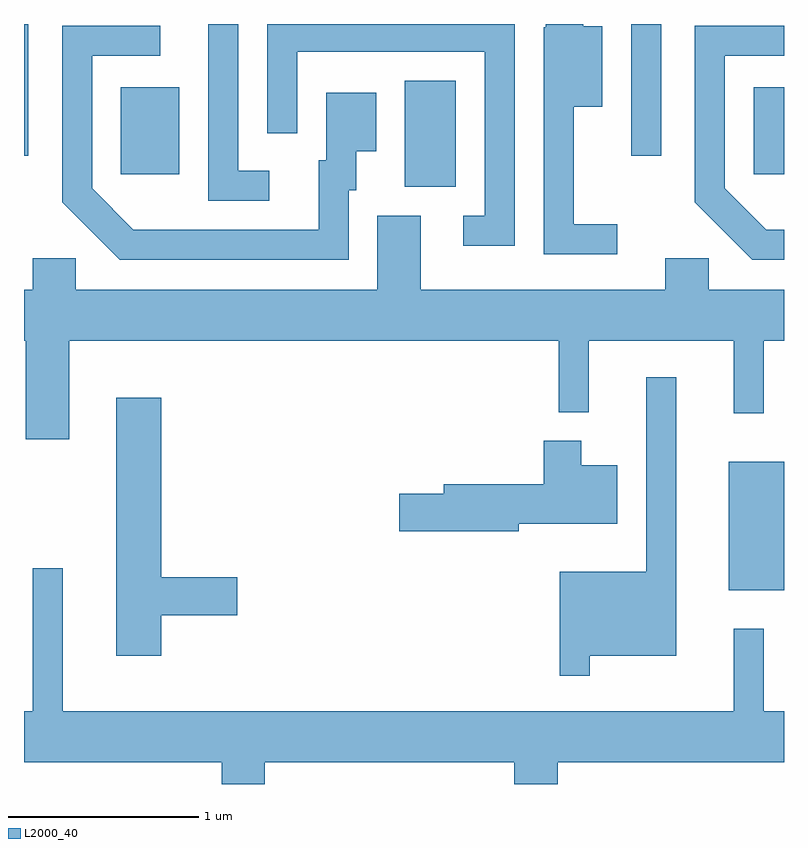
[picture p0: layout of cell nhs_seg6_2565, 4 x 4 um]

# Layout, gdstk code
import gdstk
lib = gdstk.Library(unit=1e-6, precision=1e-09)
def R(c, l, rs):  # rectangles x0, y0, x1, y1
    for r in rs: c.add(gdstk.rectangle(r[:2], r[2:], *l))
def P(c, l, *ps):  # polygons
    for p in ps: c.add(gdstk.Polygon(p, *l))
L2000_40 = (2000, 40)

nhs_seg6_2565 = lib.new_cell('nhs_seg6_2565')
R(nhs_seg6_2565, L2000_40, [(267.321,1533.181,267.611,1533.859), (265.616,1535.306,265.884,1535.864), (264.121,1535.371,264.429,1535.829), (267.451,1535.371,267.611,1535.829), (263.611,1535.468,263.634,1536.162), (266.806,1535.468,266.964,1536.162)])
P(nhs_seg6_2565, L2000_40, [(266.194,1536.162),(264.891,1536.162),(264.891,1535.588),(265.049,1535.588),(265.049,1536.016),(266.036,1536.016),(266.036,1535.154),(265.923,1535.154),(265.923,1534.996),(266.194,1534.996)],
  [(264.903,1535.389),(264.739,1535.389),(264.739,1536.162),(264.581,1536.162),(264.581,1535.231),(264.903,1535.231)],
  [(266.733,1535.109),(266.504,1535.109),(266.504,1535.726),(266.654,1535.726),(266.654,1536.149),(266.554,1536.149),(266.554,1536.162),(266.356,1536.162),(266.356,1536.145),(266.346,1536.145),(266.346,1534.951),(266.733,1534.951)],
  [(267.611,1535.079),(267.517,1535.079),(267.299,1535.297),(267.299,1535.996),(267.611,1535.996),(267.611,1536.154),(267.141,1536.154),(267.141,1535.224),(267.444,1534.921),(267.611,1534.921)],
  [(265.319,1535.286),(265.359,1535.286),(265.359,1535.491),(265.464,1535.491),(265.464,1535.799),(265.201,1535.799),(265.201,1535.444),(265.161,1535.444),(265.161,1535.079),(264.187,1535.079),(263.969,1535.297),(263.969,1535.996),(264.328,1535.996),(264.328,1536.154),(263.811,1536.154),(263.811,1535.224),(264.114,1534.921),(265.319,1534.921)],
  [(263.849,1534.496),(266.426,1534.496),(266.426,1534.118),(266.584,1534.118),(266.584,1534.496),(267.346,1534.496),(267.346,1534.113),(267.504,1534.113),(267.504,1534.496),(267.611,1534.496),(267.611,1534.764),(267.214,1534.764),(267.214,1534.929),(266.986,1534.929),(266.986,1534.764),(265.699,1534.764),(265.699,1535.154),(265.471,1535.154),(265.471,1534.764),(263.884,1534.764),(263.884,1534.929),(263.656,1534.929),(263.656,1534.764),(263.611,1534.764),(263.611,1534.496),(263.621,1534.496),(263.621,1533.976),(263.849,1533.976)],
  [(266.589,1532.836),(267.044,1532.836),(267.044,1534.303),(266.886,1534.303),(266.886,1533.279),(266.431,1533.279),(266.431,1532.733),(266.589,1532.733)],
  [(264.334,1533.051),(264.734,1533.051),(264.734,1533.249),(264.334,1533.249),(264.334,1534.194),(264.096,1534.194),(264.096,1532.836),(264.334,1532.836)],
  [(266.214,1533.531),(266.734,1533.531),(266.734,1533.839),(266.544,1533.839),(266.544,1533.969),(266.346,1533.969),(266.346,1533.739),(265.821,1533.739),(265.821,1533.689),(265.586,1533.689),(265.586,1533.491),(266.214,1533.491)],
  [(264.879,1532.276),(266.191,1532.276),(266.191,1532.162),(266.419,1532.162),(266.419,1532.276),(267.611,1532.276),(267.611,1532.544),(267.504,1532.544),(267.504,1532.978),(267.346,1532.978),(267.346,1532.544),(263.814,1532.544),(263.814,1533.298),(263.656,1533.298),(263.656,1532.544),(263.611,1532.544),(263.611,1532.276),(264.651,1532.276),(264.651,1532.162),(264.879,1532.162)])

lib.write_gds('nhs_seg6_2565.gds')
